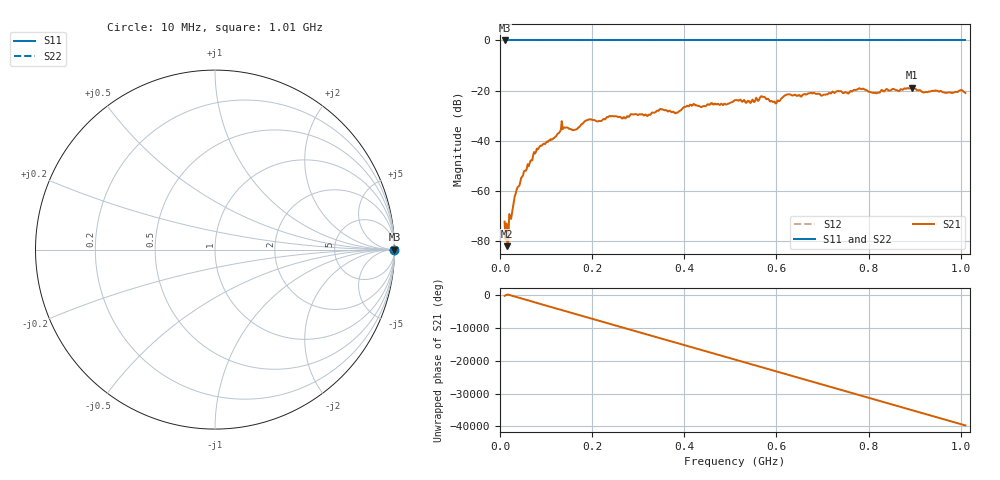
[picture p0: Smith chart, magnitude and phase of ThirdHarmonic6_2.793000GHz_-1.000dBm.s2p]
! 8/17/2025 7:14:07 AM
! C:\ANRITSUVNA\TEMP\TEMP.S2P
! CHANNEL.1
! TR.MEASUREMENT
! RAW.DATA
! RF.CORRECTION.OFF
! AVERAGING.OFF
! IF.BANDWIDTH: 5KHZ
! SWEEPTYPE:  FREQ.SWEEP(Linear)
! Reference Plane Port Info
! PORT:  PORT1  PORT2
! DISTANCE:  0  m  0  m
! TIME:  0  s  0  s
! PHASE.OFFSET:  0  deg.  0  deg.
! LOSS:  0  dB  0  dB
! REF.LOSS:  0  dB  0  dB
! REF.FREQ:  0  Hz  0  Hz
! Power Info
! POWER:  -20  dBm  -20  dBm
! EFF.POWER:  -20  dBm  -20  dBm
! SOURCE.ATTEN:  0  dB  0  dB
! TEST.ATTEN:  0  dB  0  dB
# GHZ S RI R 50.0
! FREQ.GHZ  S11RE  S11IM  S21RE  S21IM  S12RE  S12IM  S22RE  S22IM
!; PortSelection: Port_12
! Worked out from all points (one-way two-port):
!   501 points, 10 MHz to 1.01 GHz, reference 50 ohm
!   highest |S21| = -18.80 dB at 894 MHz (marker M1); lowest = -82.2 dB at 16 MHz (marker M2)
!   lowest |S11| = 0.0 dB at 10 MHz (marker M3)
!   |S11| at or under -10 dB: nowhere
!   |S22| runs from 0.0 to 0.0 dB; largest |S21 - S12| = 1.1
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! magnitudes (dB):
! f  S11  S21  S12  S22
! 10 MHz  0.0  -72.4  0.0  0.0
! 14 MHz  0.0  -73.1  0.0  0.0
! 16 MHz  0.0  -82.2  0.0  0.0
! 36 MHz  0.0  -59.7  0.0  0.0
! 76 MHz  0.0  -45.2  0.0  0.0
! 136 MHz  0.0  -35.4  0.0  0.0
! 162 MHz  0.0  -35.7  0.0  0.0
! 178 MHz  0.0  -33.3  0.0  0.0
! 194 MHz  0.0  -31.4  0.0  0.0
! 322 MHz  0.0  -29.7  0.0  0.0
! 344 MHz  0.0  -28.1  0.0  0.0
! 382 MHz  0.0  -28.8  0.0  0.0
! 416 MHz  0.0  -26.1  0.0  0.0
! 510 MHz  0.0  -23.8  0.0  0.0
! 548 MHz  0.0  -23.6  0.0  0.0
! 570 MHz  0.0  -22.6  0.0  0.0
! 596 MHz  0.0  -24.4  0.0  0.0
! 624 MHz  0.0  -21.6  0.0  0.0
! 678 MHz  0.0  -21.2  0.0  0.0
! 844 MHz  0.0  -20.1  0.0  0.0
! 894 MHz  0.0  -18.8  0.0  0.0
! 1.01 GHz  0.0  -21.0  0.0  0.0
